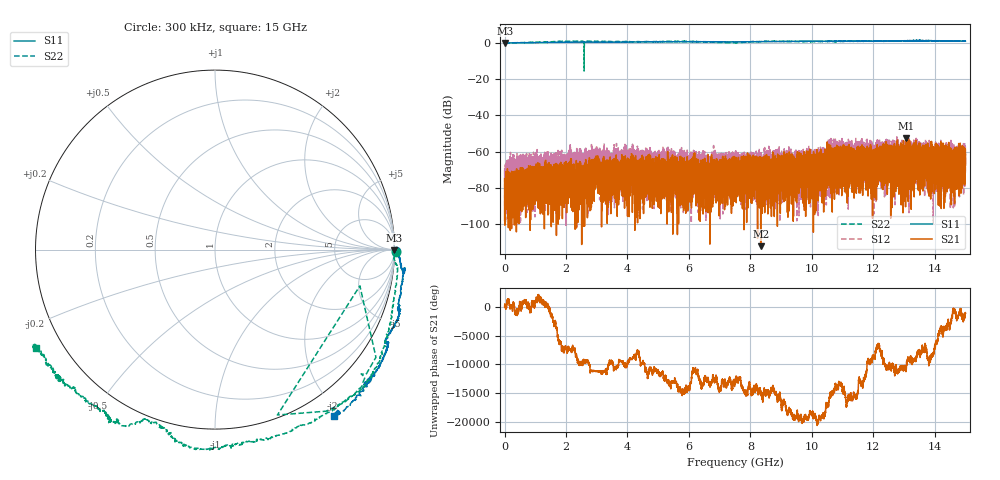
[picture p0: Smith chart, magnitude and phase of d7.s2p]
!Agilent Technologies,N5230C,SG49000117,A.08.50.07
!Agilent N5230C: A.08.50.07
!Date: Friday, May 17, 2024 08:01:08
!Correction: S11(Full 2 Port(1,2))
!S21(Full 2 Port(1,2))
!S12(Full 2 Port(1,2))
!S22(Full 2 Port(1,2))
!S2P File: Measurements: S11, S21, S12, S22:
# Hz S  MA  R 50
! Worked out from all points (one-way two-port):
!   20001 points, 300 kHz to 15 GHz, reference 50 ohm
!   highest |S21| = -52.68 dB at 13.08 GHz (marker M1); lowest = -112.2 dB at 8.337 GHz (marker M2)
!   lowest |S11| = 0.0 dB at 21.3 MHz (marker M3)
!   |S11| at or under -10 dB: nowhere
!   |S22| runs from -15.4 to 1.2 dB; largest |S21 - S12| = 0.0033
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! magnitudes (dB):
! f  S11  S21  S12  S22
! 300 kHz  0.1  -74.9  -73.3  0.1
! 21.3 MHz  0.0  -81.8  -69.3  0.0
! 1.902 GHz  0.4  -75.8  -62.4  0.9
! 2.097 GHz  0.5  -71.4  -62.0  1.0
! 2.501 GHz  0.5  -68.7  -76.8  1.0
! 3.014 GHz  0.5  -68.1  -61.6  0.9
! 3.353 GHz  0.5  -71.3  -59.4  0.9
! 4.013 GHz  0.5  -74.2  -74.3  0.8
! 4.157 GHz  0.6  -66.5  -59.6  0.7
! 4.34 GHz  0.6  -76.4  -73.9  0.8
! 5 GHz  0.7  -67.7  -70.7  0.8
! 6.662 GHz  0.7  -74.2  -69.7  0.4
! 7.5 GHz  0.7  -66.8  -63.6  0.2
! 8.337 GHz  0.8  -112.2  -73.3  0.8
! 10 GHz  1.0  -66.7  -64.3  0.9
! 10.43 GHz  1.0  -68.7  -69.7  0.8
! 10.58 GHz  1.0  -62.5  -66.0  0.9
! 10.9 GHz  1.0  -73.4  -58.0  0.9
! 12.5 GHz  1.2  -67.6  -63.4  1.0
! 13.08 GHz  1.3  -52.7  -62.9  1.0
! 14.73 GHz  1.2  -75.5  -64.8  1.2
! 15 GHz  1.2  -59.1  -58.4  1.1
